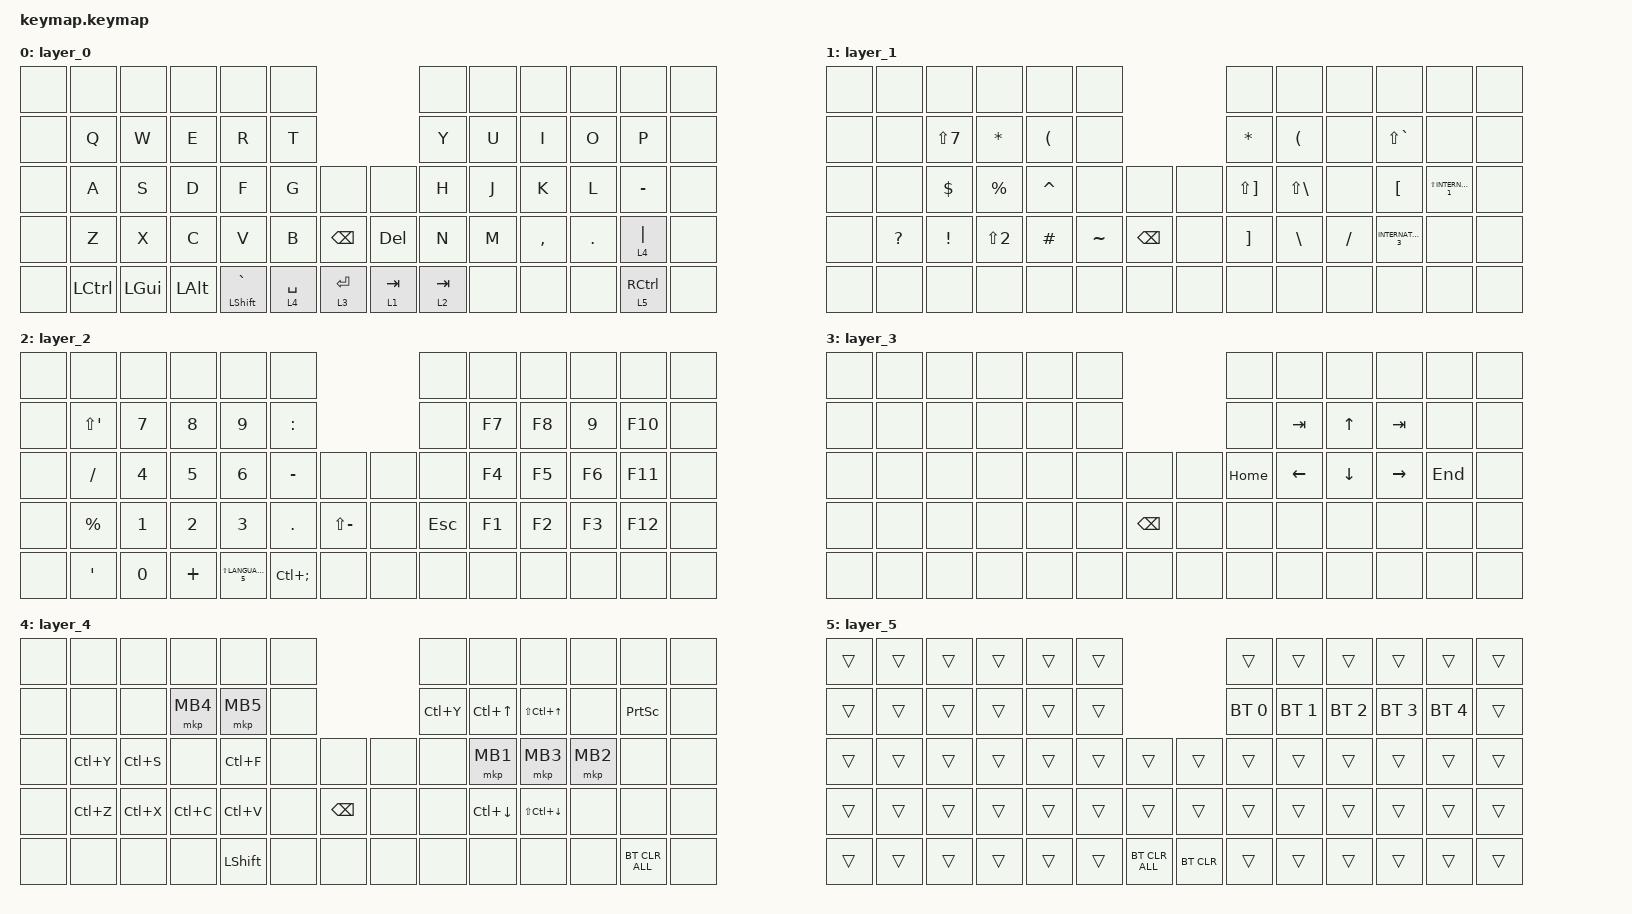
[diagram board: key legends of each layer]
#include <behaviors.dtsi>
#include <dt-bindings/zmk/bt.h>
#include <dt-bindings/zmk/keys.h>
#include <dt-bindings/zmk/pointing.h>

/ {
    combos { compatible = "zmk,combos"; };

    keymap {
        compatible = "zmk,keymap";

        layer_0 {
            bindings = <
&none  &none      &none     &none     &none                 &none                                   &none      &none  &none      &none    &none        &none
&none  &kp Q      &kp W     &kp E     &kp R                 &kp T                                   &kp Y      &kp U  &kp I      &kp O    &kp P        &none
&none  &kp A      &kp S     &kp D     &kp F                 &kp G        &none          &none       &kp H      &kp J  &kp K      &kp L    &kp MINUS    &none
&none  &kp Z      &kp X     &kp C     &kp V                 &kp B        &kp BACKSPACE  &kp DELETE  &kp N      &kp M  &kp COMMA  &kp DOT  &lt 4 PIPE   &none
&none  &kp LCTRL  &kp LGUI  &kp LALT  &mt LEFT_SHIFT GRAVE  &lt 4 SPACE  &lt 3 ENTER    &lt 1 TAB   &lt 2 TAB  &none  &none      &none    &lt 5 RCTRL  &none
            >;
        };

        layer_1 {
            bindings = <
&none  &none         &none            &none             &none                 &none                            &none                  &none                 &none      &none                &none                    &none
&none  &none         &kp LS(N7)       &kp ASTERISK      &kp LEFT_PARENTHESIS  &none                            &kp ASTERISK           &kp LEFT_PARENTHESIS  &none      &kp LS(GRAVE)        &none                    &none
&none  &none         &kp DOLLAR       &kp PERCENT       &kp CARET             &none      &none          &none  &kp LS(RIGHT_BRACKET)  &kp LS(BACKSLASH)     &none      &kp LEFT_BRACKET     &kp LS(INTERNATIONAL_1)  &none
&none  &kp QUESTION  &kp EXCLAMATION  &kp LS(NUMBER_2)  &kp HASH              &kp TILDE  &kp BACKSPACE  &none  &kp RIGHT_BRACKET      &kp BACKSLASH         &kp SLASH  &kp INTERNATIONAL_3  &none                    &none
&none  &none         &none            &none             &none                 &none      &none          &none  &none                  &none                 &none      &none                &none                    &none
            >;
        };

        layer_2 {
            bindings = <
&none  &none               &none         &none         &none               &none                               &none       &none   &none   &none   &none    &none
&none  &kp LS(APOSTROPHE)  &kp N7        &kp N8        &kp N9              &kp COLON                           &none       &kp F7  &kp F8  &kp N9  &kp F10  &none
&none  &kp SLASH           &kp NUMBER_4  &kp N5        &kp NUMBER_6        &kp MINUS     &none          &none  &none       &kp F4  &kp F5  &kp F6  &kp F11  &none
&none  &kp PERCENT         &kp NUMBER_1  &kp NUMBER_2  &kp NUMBER_3        &kp PERIOD    &kp LS(MINUS)  &none  &kp ESCAPE  &kp F1  &kp F2  &kp F3  &kp F12  &none
&none  &kp APOSTROPHE      &kp N0        &kp PLUS      &kp LS(LANGUAGE_5)  &kp LC(SEMI)  &none          &none  &none       &none   &none   &none   &none    &none
            >;
        };

        layer_3 {
            bindings = <
&none  &none  &none  &none  &none  &none                        &none     &none           &none           &none      &none    &none
&none  &none  &none  &none  &none  &none                        &none     &kp TAB         &kp UP_ARROW    &kp TAB    &none    &none
&none  &none  &none  &none  &none  &none  &none          &none  &kp HOME  &kp LEFT_ARROW  &kp DOWN_ARROW  &kp RIGHT  &kp END  &none
&none  &none  &none  &none  &none  &none  &kp BACKSPACE  &none  &none     &none           &none           &none      &none    &none
&none  &none  &none  &none  &none  &none  &none          &none  &none     &none           &none           &none      &none    &none
            >;
        };

        layer_4 {
            bindings = <
&none  &none      &none      &none      &none           &none                        &none      &none               &none                   &none     &none            &none
&none  &none      &none      &mkp MB4   &mkp MB5        &none                        &kp LC(Y)  &kp LC(UP_ARROW)    &kp LS(LC(UP_ARROW))    &none     &kp PRINTSCREEN  &none
&none  &kp LC(Y)  &kp LC(S)  &none      &kp LC(F)       &none  &none          &none  &none      &mkp MB1            &mkp MB3                &mkp MB2  &none            &none
&none  &kp LC(Z)  &kp LC(X)  &kp LC(C)  &kp LC(V)       &none  &kp BACKSPACE  &none  &none      &kp LC(DOWN_ARROW)  &kp LS(LC(DOWN_ARROW))  &none     &none            &none
&none  &none      &none      &none      &kp LEFT_SHIFT  &none  &none          &none  &none      &none               &none                   &none     &bt BT_CLR_ALL   &none
            >;
        };

        layer_5 {
            bindings = <
&trans  &trans  &trans  &trans  &trans  &trans                              &trans        &trans        &trans        &trans        &trans        &trans
&trans  &trans  &trans  &trans  &trans  &trans                              &bt BT_SEL 0  &bt BT_SEL 1  &bt BT_SEL 2  &bt BT_SEL 3  &bt BT_SEL 4  &trans
&trans  &trans  &trans  &trans  &trans  &trans  &trans          &trans      &trans        &trans        &trans        &trans        &trans        &trans
&trans  &trans  &trans  &trans  &trans  &trans  &trans          &trans      &trans        &trans        &trans        &trans        &trans        &trans
&trans  &trans  &trans  &trans  &trans  &trans  &bt BT_CLR_ALL  &bt BT_CLR  &trans        &trans        &trans        &trans        &trans        &trans
            >;
        };
    };
};
